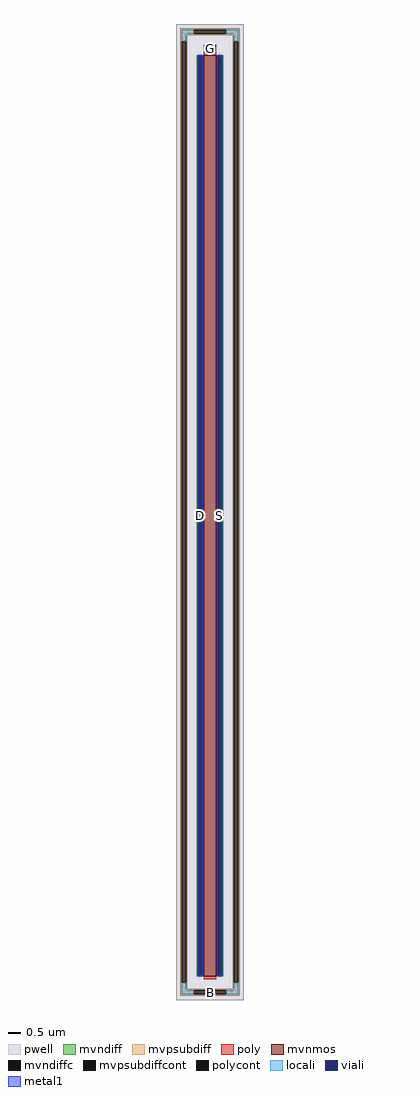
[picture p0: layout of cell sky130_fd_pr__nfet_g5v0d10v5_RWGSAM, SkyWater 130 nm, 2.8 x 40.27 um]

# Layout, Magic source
magic
tech sky130A
magscale 1 2
<< pwell >>
rect -280 -4027 280 4027
<< mvnmos >>
rect -50 -3831 50 3769
<< mvndiff >>
rect -108 3757 -50 3769
rect -108 -3819 -96 3757
rect -62 -3819 -50 3757
rect -108 -3831 -50 -3819
rect 50 3757 108 3769
rect 50 -3819 62 3757
rect 96 -3819 108 3757
rect 50 -3831 108 -3819
<< mvndiffc >>
rect -96 -3819 -62 3757
rect 62 -3819 96 3757
<< mvpsubdiff >>
rect -244 3979 244 3991
rect -244 3945 -136 3979
rect 136 3945 244 3979
rect -244 3933 244 3945
rect -244 3883 -186 3933
rect -244 -3883 -232 3883
rect -198 -3883 -186 3883
rect 186 3883 244 3933
rect -244 -3933 -186 -3883
rect 186 -3883 198 3883
rect 232 -3883 244 3883
rect 186 -3933 244 -3883
rect -244 -3945 244 -3933
rect -244 -3979 -136 -3945
rect 136 -3979 244 -3945
rect -244 -3991 244 -3979
<< mvpsubdiffcont >>
rect -136 3945 136 3979
rect -232 -3883 -198 3883
rect 198 -3883 232 3883
rect -136 -3979 136 -3945
<< poly >>
rect -50 3841 50 3857
rect -50 3807 -34 3841
rect 34 3807 50 3841
rect -50 3769 50 3807
rect -50 -3857 50 -3831
<< polycont >>
rect -34 3807 34 3841
<< locali >>
rect -232 3945 -136 3979
rect 136 3945 232 3979
rect -232 3883 -198 3945
rect 198 3883 232 3945
rect -50 3807 -34 3841
rect 34 3807 50 3841
rect -96 3757 -62 3773
rect -96 -3835 -62 -3819
rect 62 3757 96 3773
rect 62 -3835 96 -3819
rect -232 -3945 -198 -3883
rect 198 -3945 232 -3883
rect -232 -3979 -136 -3945
rect 136 -3979 232 -3945
<< viali >>
rect -34 3807 34 3841
rect -96 -3819 -62 3757
rect 62 -3819 96 3757
<< metal1 >>
rect -46 3841 46 3847
rect -46 3807 -34 3841
rect 34 3807 46 3841
rect -46 3801 46 3807
rect -102 3757 -56 3769
rect -102 -3819 -96 3757
rect -62 -3819 -56 3757
rect -102 -3831 -56 -3819
rect 56 3757 102 3769
rect 56 -3819 62 3757
rect 96 -3819 102 3757
rect 56 -3831 102 -3819
<< labels >>
rlabel mvpsubdiffcont 0 -3962 0 -3962 0 B
port 1 nsew
rlabel mvndiffc -79 -31 -79 -31 0 D
port 2 nsew
rlabel mvndiffc 79 -31 79 -31 0 S
port 3 nsew
rlabel polycont 0 3824 0 3824 0 G
port 4 nsew
<< properties >>
string FIXED_BBOX -215 -3962 215 3962
string gencell sky130_fd_pr__nfet_g5v0d10v5
string library sky130
string parameters w 38.0 l 0.5 m 1 nf 1 diffcov 100 polycov 100 guard 1 glc 1 grc 1 gtc 1 gbc 1 tbcov 100 rlcov 100 topc 1 botc 0 poverlap 0 doverlap 1 lmin 0.50 wmin 0.42 class mosfet compatible {sky130_fd_pr__nfet_01v8 sky130_fd_pr__nfet_01v8_lvt  sky130_fd_bs_flash__special_sonosfet_star  sky130_fd_pr__nfet_g5v0d10v5 sky130_fd_pr__nfet_05v0_nvt  sky130_fd_pr__nfet_03v3_nvt} full_metal 1 conn_gates 0 viasrc 100 viadrn 100 viagate 100 viagb 0 viagr 0 viagl 0 viagt 0 doports 1
<< end >>
